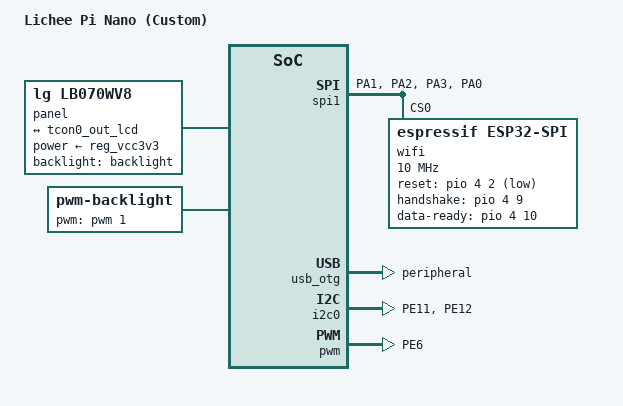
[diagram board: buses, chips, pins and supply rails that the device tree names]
// SPDX-License-Identifier: (GPL-2.0+ OR X11)
//
// Lichee Pi Nano with the 5" 800x480 resistive-touch panel, for mainline
// Linux (6.18). Built on the mainline board file, which already has the SD
// card, SPI flash, USB, serial console and audio codec; this adds what the
// chess clock needs on top (and SPI WiFi through an ESP32).
//
// The display pipeline (frontend -> backend -> TCON -> panel) is not in
// mainline: the nodes below are carried over from the 5.11 kernel fork this
// board used before (unframework/linux v5.11-nano-4), and need the
// 0001-drm-sun4i-add-F1C100s-display-support.patch kernel patch.

/dts-v1/;
#include "allwinner/suniv-f1c100s-licheepi-nano.dts"
#include <dt-bindings/gpio/gpio.h>

/ {
	model = "Lichee Pi Nano (Custom)";

	de: display-engine {
		compatible = "allwinner,suniv-f1c100s-display-engine";
		allwinner,pipelines = <&fe0>;
		status = "okay";
	};

	panel: panel {
		compatible = "lg,lb070wv8", "simple-panel";
		power-supply = <&reg_vcc3v3>;
		backlight = <&backlight>;

		port {
			panel_input: endpoint {
				remote-endpoint = <&tcon0_out_lcd>;
			};
		};
	};

	// PE6 drives the enable pin of the backlight driver (PT4103, "PWM1" on
	// the schematic), which accepts PWM below 1kHz. Brightness is set
	// through /sys/class/backlight/backlight/brightness.
	backlight: backlight {
		compatible = "pwm-backlight";
		pwms = <&pwm 1 2000000 0>;	// channel 1, 2ms period (500Hz)
		brightness-levels = <0 255>;
		num-interpolated-steps = <255>;
		default-brightness-level = <255>;
	};

	soc {
		fe0: display-frontend@1e00000 {
			compatible = "allwinner,suniv-f1c100s-display-frontend";
			reg = <0x01e00000 0x20000>;
			interrupts = <30>;
			clocks = <&ccu CLK_BUS_DE_FE>, <&ccu CLK_DE_FE>,
				 <&ccu CLK_DRAM_DE_FE>;
			clock-names = "ahb", "mod", "ram";
			resets = <&ccu RST_BUS_DE_FE>;

			ports {
				#address-cells = <1>;
				#size-cells = <0>;

				fe0_out: port@1 {
					#address-cells = <1>;
					#size-cells = <0>;
					reg = <1>;

					fe0_out_be0: endpoint@0 {
						reg = <0>;
						remote-endpoint = <&be0_in_fe0>;
					};
				};
			};
		};

		be0: display-backend@1e60000 {
			compatible = "allwinner,suniv-f1c100s-display-backend";
			reg = <0x01e60000 0x10000>;
			reg-names = "be";
			interrupts = <31>;
			clocks = <&ccu CLK_BUS_DE_BE>, <&ccu CLK_DE_BE>,
				 <&ccu CLK_DRAM_DE_BE>;
			clock-names = "ahb", "mod", "ram";
			resets = <&ccu RST_BUS_DE_BE>;
			reset-names = "be";
			assigned-clocks = <&ccu CLK_DE_BE>;
			assigned-clock-rates = <300000000>;

			ports {
				#address-cells = <1>;
				#size-cells = <0>;

				be0_in: port@0 {
					#address-cells = <1>;
					#size-cells = <0>;
					reg = <0>;

					be0_in_fe0: endpoint@0 {
						reg = <0>;
						remote-endpoint = <&fe0_out_be0>;
					};
				};

				be0_out: port@1 {
					#address-cells = <1>;
					#size-cells = <0>;
					reg = <1>;

					be0_out_tcon0: endpoint@0 {
						reg = <0>;
						remote-endpoint = <&tcon0_in_be0>;
					};
				};
			};
		};

		tcon0: lcd-controller@1c0c000 {
			compatible = "allwinner,suniv-f1c100s-tcon";
			reg = <0x01c0c000 0x1000>;
			interrupts = <29>;
			clocks = <&ccu CLK_BUS_LCD>, <&ccu CLK_TCON>;
			clock-names = "ahb", "tcon-ch0";
			clock-output-names = "tcon-pixel-clock";
			resets = <&ccu RST_BUS_LCD>;
			reset-names = "lcd";
			pinctrl-names = "default";
			pinctrl-0 = <&lcd_rgb666_pins>;

			ports {
				#address-cells = <1>;
				#size-cells = <0>;

				tcon0_in: port@0 {
					#address-cells = <1>;
					#size-cells = <0>;
					reg = <0>;

					tcon0_in_be0: endpoint@0 {
						reg = <0>;
						remote-endpoint = <&be0_out_tcon0>;
					};
				};

				tcon0_out: port@1 {
					#address-cells = <1>;
					#size-cells = <0>;
					reg = <1>;

					tcon0_out_lcd: endpoint@0 {
						reg = <0>;
						remote-endpoint = <&panel_input>;
					};
				};
			};
		};
	};
};

&pio {
	lcd_rgb666_pins: lcd-rgb666-pins {
		pins = "PD0", "PD1", "PD2", "PD3", "PD4",
		       "PD5", "PD6", "PD7", "PD8", "PD9",
		       "PD10", "PD11", "PD12", "PD13", "PD14",
		       "PD15", "PD16", "PD17", "PD18", "PD19",
		       "PD20", "PD21";
		function = "lcd";
	};

	// The resistive touch film (40-pin LCD connector, pins 37-40) goes to
	// the on-board NS2009 touch chip (U4, address 0x48) on TWI0 at PE11/PE12,
	// which fbclock.py reads through /dev/i2c-0. (Mainline only describes
	// TWI0 on PD0/PD12, which collide with the LCD.) The board has no
	// external pull-ups on this bus; without these every transfer times out.
	i2c0_pe_pins: i2c0-pe-pins {
		pins = "PE11", "PE12";
		function = "i2c0";
		bias-pull-up;
	};

	pwm1_pe6_pin: pwm1-pe6-pin {
		pins = "PE6";
		function = "pwm1";
	};

	// SPI1 on the top header's A0-A3 pins, to an ESP32 for WiFi (below)
	spi1_pa_pins: spi1-pa-pins {
		pins = "PA1", "PA2", "PA3";		// MOSI, CLK, MISO
		function = "spi1";
	};

	// CS, with the pin's own pull-up (about 100k) so it stays high (the ESP32 not selected) while
	// nothing drives it, e.g. before Linux sets the pins up. An external 10k to 3.3V is better.
	spi1_cs_pin: spi1-cs-pin {
		pins = "PA0";
		function = "spi1";
		bias-pull-up;
	};
};

// WiFi from an ESP32 running Espressif's ESP-Hosted firmware: Linux sees it
// as wlan0 (driver: esp32_spi.ko, package/esp-hosted-nano). Wiring, Nano header ->
// ESP32 (an MH-ET LIVE MiniKit while testing; the protoboard's ESP32-C3 uses
// the same Nano-side pins):
//   A0 PA0 SPI1 CS (10k pull-up to 3.3V, or just the internal one) -> IO15     A1 PA1 MOSI -> IO13
//   A2 PA2 SPI1 CLK -> IO14                          A3 PA3 MISO <- IO12
//   D6 PE9 <- IO2 handshake    D7 PE10 <- IO4 data ready    PCLK PE2 -> EN
// SPI mode 2. The driver starts at 1 MHz and moves to the speed the firmware
// asks for, capped here: jumper wires don't like much more.
&spi1 {
	pinctrl-names = "default";
	pinctrl-0 = <&spi1_pa_pins>, <&spi1_cs_pin>;
	status = "okay";

	wifi@0 {
		compatible = "espressif,esp32-spi";
		reg = <0>;
		spi-max-frequency = <10000000>;
		spi-cpol;
		reset-gpios = <&pio 4 2 GPIO_ACTIVE_LOW>;		// PE2 -> ESP EN
		handshake-gpios = <&pio 4 9 GPIO_ACTIVE_HIGH>;		// PE9 <- ESP IO2
		data-ready-gpios = <&pio 4 10 GPIO_ACTIVE_HIGH>;	// PE10 <- ESP IO4
	};
};

// The micro-USB port as a USB device only (a serial port for the Mac, see linux_defconfig): no
// host mode, so no need to sense the cable's ID pin, which mainline reads on PE2. That leaves PE2
// free (for the ESP32's reset, above).
&usb_otg {
	dr_mode = "peripheral";
};

&usbphy {
	/delete-property/ usb0_id_det-gpios;
};

&i2c0 {
	pinctrl-names = "default";
	pinctrl-0 = <&i2c0_pe_pins>;
	status = "okay";
};

&pwm {
	pinctrl-names = "default";
	pinctrl-0 = <&pwm1_pe6_pin>;
	status = "okay";
};
